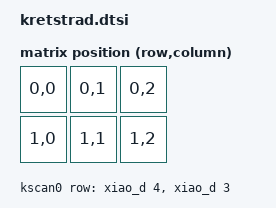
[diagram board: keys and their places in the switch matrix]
/*
 * Copyright (c) 2020 The ZMK Contributors
 *
 * SPDX-License-Identifier: MIT
 */

#include <dt-bindings/zmk/matrix_transform.h>

/ {
    chosen {
        zmk,kscan = &kscan0;
        zmk,matrix_transform = &default_transform;
        /* /delete-property/ zephyr,console; */
        /* /delete-property/ zephyr,shell-uart; */
    };

    default_transform: keymap_transform_0 {
                       compatible = "zmk,matrix-transform";
                       columns = <3>;
                       rows = <2>;
                       // | SW1  | SW2  | SW3  |
                       // | SW4  | SW5  | SW6  |
                       map = <
                           RC(0,0) RC(0,1) RC(0,2)
                           RC(1,0) RC(1,1) RC(1,2)
                           >;
                   };

    kscan0: kscan_0 {
            compatible = "zmk,kscan-gpio-matrix";
            label = "KSCAN";

            diode-direction = "col2row";
            row-gpios
                = <&xiao_d  4 (GPIO_ACTIVE_HIGH | GPIO_PULL_DOWN)>
                , <&xiao_d  3 (GPIO_ACTIVE_HIGH | GPIO_PULL_DOWN)>
                ;
        };
};

&xiao_spi { status = "disabled"; };
&xiao_i2c { status = "disabled"; };
&xiao_serial { status = "disabled"; };
